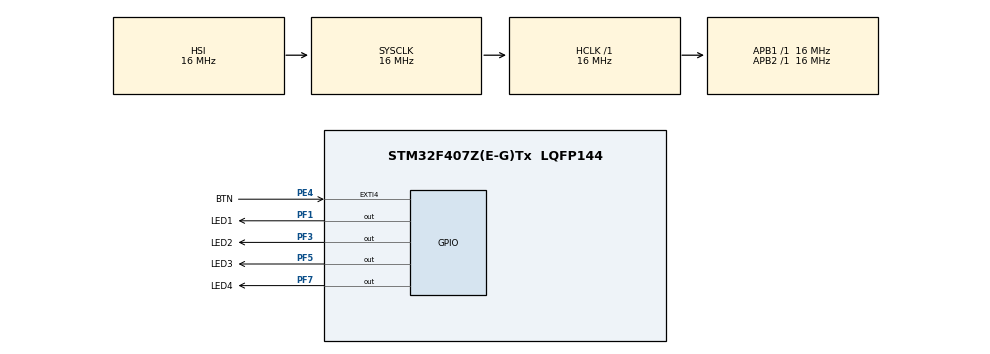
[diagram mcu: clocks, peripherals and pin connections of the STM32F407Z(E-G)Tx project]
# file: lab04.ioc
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Mcu.Family=STM32F4
Mcu.Name=STM32F407Z(E-G)Tx
Mcu.Package=LQFP144
NVIC.EXTI4_IRQn=true\:0\:0\:false\:false\:true\:true\:true
NVIC.FPU_IRQn=true\:0\:0\:false\:false\:true\:true\:false
NVIC.PriorityGroup=NVIC_PRIORITYGROUP_4
NVIC.TIM2_IRQn=true\:0\:0\:false\:true\:true\:2\:true\:true
NVIC.TIM3_IRQn=true\:0\:0\:false\:true\:true\:1\:true\:true
NVIC.TIM4_IRQn=true\:0\:0\:false\:true\:true\:3\:true\:true
PE4.GPIO_Label=BTN
PE4.GPIO_ModeDefaultEXTI=GPIO_MODE_IT_RISING_FALLING
PE4.GPIO_PuPd=GPIO_PULLUP
PE4.Signal=GPXTI4
PF1.GPIO_Label=LED1
PF1.Signal=GPIO_Output
PF3.GPIO_Label=LED2
PF3.Signal=GPIO_Output
PF5.GPIO_Label=LED3
PF5.Signal=GPIO_Output
PF7.GPIO_Label=LED4
PF7.Signal=GPIO_Output
ProjectManager.HeapSize=0x200
ProjectManager.StackSize=0x400
ProjectManager.TargetToolchain=STM32CubeIDE
RCC.AHBFreq_Value=16000000
RCC.APB1Freq_Value=16000000
RCC.APB2Freq_Value=16000000
RCC.CortexFreq_Value=16000000
RCC.HSE_VALUE=25000000
RCC.HSI_VALUE=16000000
RCC.LSE_VALUE=32768
RCC.SYSCLKFreq_VALUE=16000000
RCC.VCOOutputFreq_Value=192000000
TIM2.Period=200-1
TIM2.Prescaler=16000-1
TIM2.TIM_MasterOutputTrigger=TIM_TRGO_UPDATE
TIM3.Period=600-1
TIM3.Prescaler=16000-1
TIM3.TIM_MasterOutputTrigger=TIM_TRGO_UPDATE
TIM4.Period=800-1
TIM4.Prescaler=16000-1
TIM4.TIM_MasterOutputTrigger=TIM_TRGO_UPDATE
VP_TIM2_VS_ClockSourceINT.Mode=Internal
VP_TIM3_VS_ClockSourceINT.Mode=Internal
VP_TIM4_VS_ClockSourceINT.Mode=Internal
board=custom

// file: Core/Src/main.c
/* USER CODE BEGIN Header */
/**
  ******************************************************************************
  * @file           : main.c
  * @brief          : Main program body
  ******************************************************************************
  * @attention
  *
  * <h2><center>&copy; Copyright (c) 2022 STMicroelectronics.
  * All rights reserved.</center></h2>
  *
  * This software component is licensed by ST under BSD 3-Clause license,
  * the "License"; You may not use this file except in compliance with the
  * License. You may obtain a copy of the License at:
  *                        opensource.org/licenses/BSD-3-Clause
  *
  ******************************************************************************
  */
/* USER CODE END Header */
#include "main.h"

/* USER CODE BEGIN PD */
#define LED1_DELAY 100
/* USER CODE END PD */

TIM_HandleTypeDef htim2;
TIM_HandleTypeDef htim3;
TIM_HandleTypeDef htim4;

/* USER CODE BEGIN PV */
uint32_t new_time;
GPIO_PinState btn_state;
uint8_t timers_activated;
/* USER CODE END PV */

void SystemClock_Config(void);
static void MX_GPIO_Init(void);
static void MX_TIM2_Init(void);
static void MX_TIM3_Init(void);
static void MX_TIM4_Init(void);
static void MX_NVIC_Init(void);

int main(void)
{

  /* MCU Configuration--------------------------------------------------------*/

  /* Reset of all peripherals, Initializes the Flash interface and the Systick. */
  HAL_Init();

  /* Configure the system clock */
  SystemClock_Config();

  /* Initialize all configured peripherals */
  MX_GPIO_Init();
  MX_TIM2_Init();
  MX_TIM3_Init();
  MX_TIM4_Init();

  /* Initialize interrupts */
  MX_NVIC_Init();

  /* Infinite loop */
  /* USER CODE BEGIN WHILE */
  while (1)
  {
	  if (HAL_GetTick() - new_time > LED1_DELAY) {
		  HAL_GPIO_TogglePin(LED1_GPIO_Port, LED1_Pin);
		  new_time = HAL_GetTick();
	  }

	  if (btn_state == GPIO_PIN_RESET && timers_activated == 0) {
		  HAL_TIM_Base_Start_IT(&htim2);
		  HAL_TIM_Base_Start_IT(&htim3);
		  HAL_TIM_Base_Start_IT(&htim4);
		  timers_activated = 1;
	  }
	  else if (btn_state == GPIO_PIN_SET && timers_activated == 1) {
		  HAL_TIM_Base_Stop_IT(&htim2);
		  HAL_TIM_Base_Stop_IT(&htim3);
		  HAL_TIM_Base_Stop_IT(&htim4);
		  timers_activated = 0;
	  }
    /* USER CODE END WHILE */

  }
}

void SystemClock_Config(void)
{
  RCC_OscInitTypeDef RCC_OscInitStruct = {0};
  RCC_ClkInitTypeDef RCC_ClkInitStruct = {0};

  /** Configure the main internal regulator output voltage
  */
  __HAL_RCC_PWR_CLK_ENABLE();
  __HAL_PWR_VOLTAGESCALING_CONFIG(PWR_REGULATOR_VOLTAGE_SCALE1);
  /** Initializes the RCC Oscillators according to the specified parameters
  * in the RCC_OscInitTypeDef structure.
  */
  RCC_OscInitStruct.OscillatorType = RCC_OSCILLATORTYPE_HSI;
  RCC_OscInitStruct.HSIState = RCC_HSI_ON;
  RCC_OscInitStruct.HSICalibrationValue = RCC_HSICALIBRATION_DEFAULT;
  RCC_OscInitStruct.PLL.PLLState = RCC_PLL_NONE;
  if (HAL_RCC_OscConfig(&RCC_OscInitStruct) != HAL_OK)
  {
    Error_Handler();
  }
  /** Initializes the CPU, AHB and APB buses clocks
  */
  RCC_ClkInitStruct.ClockType = RCC_CLOCKTYPE_HCLK|RCC_CLOCKTYPE_SYSCLK
                              |RCC_CLOCKTYPE_PCLK1|RCC_CLOCKTYPE_PCLK2;
  RCC_ClkInitStruct.SYSCLKSource = RCC_SYSCLKSOURCE_HSI;
  RCC_ClkInitStruct.AHBCLKDivider = RCC_SYSCLK_DIV1;
  RCC_ClkInitStruct.APB1CLKDivider = RCC_HCLK_DIV1;
  RCC_ClkInitStruct.APB2CLKDivider = RCC_HCLK_DIV1;

  if (HAL_RCC_ClockConfig(&RCC_ClkInitStruct, FLASH_LATENCY_0) != HAL_OK)
  {
    Error_Handler();
  }
}

/**
  * @brief NVIC Configuration.
  * @retval None
  */
static void MX_NVIC_Init(void)
{
  /* TIM3_IRQn interrupt configuration */
  HAL_NVIC_SetPriority(TIM3_IRQn, 0, 0);
  HAL_NVIC_EnableIRQ(TIM3_IRQn);
  /* TIM2_IRQn interrupt configuration */
  HAL_NVIC_SetPriority(TIM2_IRQn, 0, 0);
  HAL_NVIC_EnableIRQ(TIM2_IRQn);
  /* TIM4_IRQn interrupt configuration */
  HAL_NVIC_SetPriority(TIM4_IRQn, 0, 0);
  HAL_NVIC_EnableIRQ(TIM4_IRQn);
}

static void MX_TIM2_Init(void)
{

  TIM_ClockConfigTypeDef sClockSourceConfig = {0};
  TIM_MasterConfigTypeDef sMasterConfig = {0};

  htim2.Instance = TIM2;
  htim2.Init.Prescaler = 16000-1;
  htim2.Init.CounterMode = TIM_COUNTERMODE_UP;
  htim2.Init.Period = 200-1;
  htim2.Init.ClockDivision = TIM_CLOCKDIVISION_DIV1;
  htim2.Init.AutoReloadPreload = TIM_AUTORELOAD_PRELOAD_DISABLE;
  if (HAL_TIM_Base_Init(&htim2) != HAL_OK)
  {
    Error_Handler();
  }
  sClockSourceConfig.ClockSource = TIM_CLOCKSOURCE_INTERNAL;
  if (HAL_TIM_ConfigClockSource(&htim2, &sClockSourceConfig) != HAL_OK)
  {
    Error_Handler();
  }
  sMasterConfig.MasterOutputTrigger = TIM_TRGO_UPDATE;
  sMasterConfig.MasterSlaveMode = TIM_MASTERSLAVEMODE_DISABLE;
  if (HAL_TIMEx_MasterConfigSynchronization(&htim2, &sMasterConfig) != HAL_OK)
  {
    Error_Handler();
  }

}

static void MX_TIM3_Init(void)
{

  TIM_ClockConfigTypeDef sClockSourceConfig = {0};
  TIM_MasterConfigTypeDef sMasterConfig = {0};

  htim3.Instance = TIM3;
  htim3.Init.Prescaler = 16000-1;
  htim3.Init.CounterMode = TIM_COUNTERMODE_UP;
  htim3.Init.Period = 600-1;
  htim3.Init.ClockDivision = TIM_CLOCKDIVISION_DIV1;
  htim3.Init.AutoReloadPreload = TIM_AUTORELOAD_PRELOAD_DISABLE;
  if (HAL_TIM_Base_Init(&htim3) != HAL_OK)
  {
    Error_Handler();
  }
  sClockSourceConfig.ClockSource = TIM_CLOCKSOURCE_INTERNAL;
  if (HAL_TIM_ConfigClockSource(&htim3, &sClockSourceConfig) != HAL_OK)
  {
    Error_Handler();
  }
  sMasterConfig.MasterOutputTrigger = TIM_TRGO_UPDATE;
  sMasterConfig.MasterSlaveMode = TIM_MASTERSLAVEMODE_DISABLE;
  if (HAL_TIMEx_MasterConfigSynchronization(&htim3, &sMasterConfig) != HAL_OK)
  {
    Error_Handler();
  }

}

static void MX_TIM4_Init(void)
{

  TIM_ClockConfigTypeDef sClockSourceConfig = {0};
  TIM_MasterConfigTypeDef sMasterConfig = {0};

  htim4.Instance = TIM4;
  htim4.Init.Prescaler = 16000-1;
  htim4.Init.CounterMode = TIM_COUNTERMODE_UP;
  htim4.Init.Period = 800-1;
  htim4.Init.ClockDivision = TIM_CLOCKDIVISION_DIV1;
  htim4.Init.AutoReloadPreload = TIM_AUTORELOAD_PRELOAD_DISABLE;
  if (HAL_TIM_Base_Init(&htim4) != HAL_OK)
  {
    Error_Handler();
  }
  sClockSourceConfig.ClockSource = TIM_CLOCKSOURCE_INTERNAL;
  if (HAL_TIM_ConfigClockSource(&htim4, &sClockSourceConfig) != HAL_OK)
  {
    Error_Handler();
  }
  sMasterConfig.MasterOutputTrigger = TIM_TRGO_UPDATE;
  sMasterConfig.MasterSlaveMode = TIM_MASTERSLAVEMODE_DISABLE;
  if (HAL_TIMEx_MasterConfigSynchronization(&htim4, &sMasterConfig) != HAL_OK)
  {
    Error_Handler();
  }

}

static void MX_GPIO_Init(void)
{
  GPIO_InitTypeDef GPIO_InitStruct = {0};

  /* GPIO Ports Clock Enable */
  __HAL_RCC_GPIOE_CLK_ENABLE();
  __HAL_RCC_GPIOF_CLK_ENABLE();

  /*Configure GPIO pin Output Level */
  HAL_GPIO_WritePin(GPIOF, LED1_Pin|LED2_Pin|LED3_Pin|LED4_Pin, GPIO_PIN_RESET);

  /*Configure GPIO pin : BTN_Pin */
  GPIO_InitStruct.Pin = BTN_Pin;
  GPIO_InitStruct.Mode = GPIO_MODE_IT_RISING_FALLING;
  GPIO_InitStruct.Pull = GPIO_PULLUP;
  HAL_GPIO_Init(BTN_GPIO_Port, &GPIO_InitStruct);

  /*Configure GPIO pins : LED1_Pin LED2_Pin LED3_Pin LED4_Pin */
  GPIO_InitStruct.Pin = LED1_Pin|LED2_Pin|LED3_Pin|LED4_Pin;
  GPIO_InitStruct.Mode = GPIO_MODE_OUTPUT_PP;
  GPIO_InitStruct.Pull = GPIO_NOPULL;
  GPIO_InitStruct.Speed = GPIO_SPEED_FREQ_LOW;
  HAL_GPIO_Init(GPIOF, &GPIO_InitStruct);

  /* EXTI interrupt init*/
  HAL_NVIC_SetPriority(EXTI4_IRQn, 0, 0);
  HAL_NVIC_EnableIRQ(EXTI4_IRQn);

}

/* USER CODE BEGIN 4 */
void HAL_GPIO_EXTI_Callback(uint16_t GPIO_Pin)
{
	if (GPIO_Pin == BTN_Pin) {
		if (HAL_GPIO_ReadPin(BTN_GPIO_Port, BTN_Pin) == GPIO_PIN_RESET) {
			btn_state = GPIO_PIN_SET;
		}
		else if (HAL_GPIO_ReadPin(BTN_GPIO_Port, BTN_Pin) == GPIO_PIN_SET) {
			btn_state = GPIO_PIN_RESET;
		}
	}
}

void HAL_TIM_PeriodElapsedCallback(TIM_HandleTypeDef *htim)
{
	if (htim->Instance == TIM2) {
		HAL_GPIO_TogglePin(LED2_GPIO_Port, LED2_Pin);
	}
	else if (htim->Instance == TIM3) {
		HAL_GPIO_TogglePin(LED3_GPIO_Port, LED3_Pin);
	}
	else if (htim->Instance == TIM4) {
		HAL_GPIO_TogglePin(LED4_GPIO_Port, LED4_Pin);
	}
}
/* USER CODE END 4 */

void Error_Handler(void)
{
  __disable_irq();
  while (1)
  {
  }
}

/************************ (C) COPYRIGHT STMicroelectronics *****END OF FILE****/
